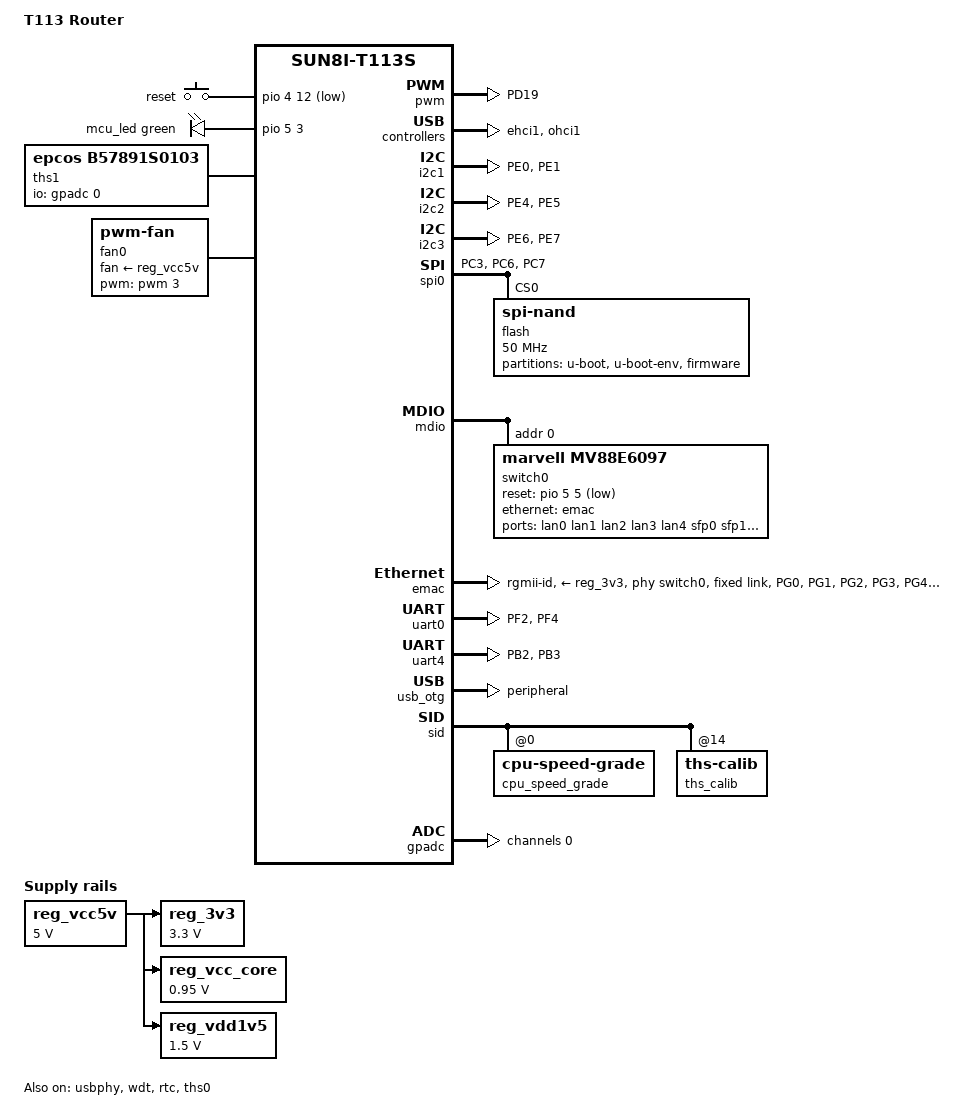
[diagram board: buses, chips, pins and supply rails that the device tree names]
// Copyright (C) 2022 Arm Ltd.

/dts-v1/;

#include "sun8i-t113s.dtsi"

#include <dt-bindings/gpio/gpio.h>
#include <dt-bindings/input/input.h>
#include <dt-bindings/leds/common.h>
#include <dt-bindings/pwm/pwm.h>
#include <dt-bindings/thermal/thermal.h>

/ {
    model = "T113 Router";

    aliases {
        serial0 = &uart0;
        serial1 = &uart4;
        spi0 = &spi0;
        ethernet0 = &emac;
    };

    chosen {
      stdout-path = "serial0:115200n8";
    };

    cpu_opp_table: cpu-opp-table {
      compatible = "allwinner,sun20i-d1-operating-points",
                   "allwinner,sun50i-h6-operating-points";
      nvmem-cells = <&cpu_speed_grade>;

      opp-1080000000 {
        opp-hz = /bits/ 64 <1008000000>;
        opp-microvolt = <900000 950000 1100000>;
      };
	  };

    gpio-buttons {
      compatible = "gpio-keys";

      button-reset {
        label = "reset";
        linux,code = <KEY_RESTART>;
			  gpios = <&pio 4 12 GPIO_ACTIVE_LOW>; //PE12
			  debounce-interval = <60>;
      };
	  };

    leds {
        compatible = "gpio-leds";

        mcu_led: led-0 {
            color = <LED_COLOR_ID_GREEN>;
            function = LED_FUNCTION_BOOT;
            gpios = <&pio 5 3 GPIO_ACTIVE_HIGH>; /* PF3 */
            linux,default-trigger = "pattern";
            default-state = "on";
        };
    };

    options {
      u-boot {
        compatible = "u-boot,config";
        boot-led = <&mcu_led>;
        boot-led-period-ms = <250>; // Blinks every 250ms
/*        activity-led = <&mcu_led>;*/
      };
	  };

  soc {
		pwm: pwm@2000c00 {
			compatible = "allwinner,sun20i-d1-pwm";
			reg = <0x2000c00 0x400>;
			clocks = <&ccu CLK_BUS_PWM>, <&dcxo>, <&ccu CLK_APB0>;
			clock-names = "bus", "hosc", "apb";
			resets = <&ccu RST_BUS_PWM>;
			interrupts = <SOC_PERIPHERAL_IRQ(18) IRQ_TYPE_LEVEL_HIGH>;
			#pwm-cells = <3>;
			status = "disabled";
		};

		ths0: cpu-temperature-sensor@2009400 {
			compatible = "allwinner,sun20i-d1-ths";
			reg = <0x2009400 0x400>;
			clocks = <&ccu CLK_BUS_THS>, <&dcxo>;
			clock-names = "bus", "hosc";
			resets = <&ccu RST_BUS_THS>;
			interrupts = <SOC_PERIPHERAL_IRQ(58) IRQ_TYPE_LEVEL_HIGH>;
			nvmem-cells = <&ths_calib>;
			nvmem-cell-names = "calibration";
			#thermal-sensor-cells = <0>;
		};
	};

  ths1: thermistor {
    compatible = "epcos,b57891s0103"; //b57891s0103 ~= NCP21XV103J03RA
    pullup-uv = <3300000>;
    pullup-ohm = <10000>;
    pulldown-ohm = <0>;
    io-channels = <&gpadc 0>;
    #thermal-sensor-cells = <0>;
  };

  fan0: pwm-fan {
    compatible = "pwm-fan";
    cooling-levels = <0 102 170 230 255>;
    pwms = <&pwm 3 20000 0>; //PWM3 50kHz
    #cooling-cells = <2>;
    fan-supply = <&reg_vcc5v>;
  };

  thermal-zones {
    cpu_thermal: cpu-thermal {
      polling-delay-passive = <250>; /* milliseconds */
      polling-delay = <1000>; /* milliseconds */
      thermal-sensors = <&ths0>;

      trips {
        cpu_target_0: cpu-target-0 {
            hysteresis = <3000>;
            temperature = <85000>;
            type = "passive";
        };

        cpu_crit_0: cpu-crit-0 {
            hysteresis = <0>;
            temperature = <110000>;
            type = "critical";
        };
      };

      cooling-maps {
        map0 {
          trip = <&cpu_target_0>;
          cooling-device = <&fan0 0 1>;
        };
      };
    };

    board_thermal: board-thermal {
      polling-delay-passive = <1000>; /* milliseconds */
      polling-delay = <2500>; /* milliseconds */
      thermal-sensors = <&ths1>;

      trips {
          board_alert_0: board-alert-0 {
              temperature = <100000>;
              hysteresis = <1000>;
              type = "passive";
          };
          board_crit_0: board-crit-0 {
              temperature = <130000>;
              hysteresis = <1000>;
              type = "critical";
          };
      };
    };
  };

  reg_vcc5v: regulator-5v {
    compatible = "regulator-fixed";
    regulator-name = "vcc-5v";
    regulator-min-microvolt = <5000000>;
    regulator-max-microvolt = <5000000>;
    regulator-always-on;
  };

  reg_3v3: regulator-3v3 {
    compatible = "regulator-fixed";
    regulator-name = "vcc-3v3";
    regulator-min-microvolt = <3300000>;
    regulator-max-microvolt = <3300000>;
    vin-supply = <&reg_vcc5v>;
  };

  reg_vcc_core: regulator-core {
    compatible = "regulator-fixed";
    regulator-name = "vcc-core";
    regulator-min-microvolt = <950000>;
    regulator-max-microvolt = <950000>;
    vin-supply = <&reg_vcc5v>;
  };

  reg_vdd1v5: regulator-avdd {
    compatible = "regulator-fixed";
    regulator-name = "vdd1v5";
    regulator-min-microvolt = <1500000>;
    regulator-max-microvolt = <1500000>;
    vin-supply = <&reg_vcc5v>;
  };
};

&cpu0 {
  cpu-supply = <&reg_vcc_core>;
  clock-frequency = <1008000000>;
  operating-points-v2 = <&cpu_opp_table>;
  #cooling-cells = <0x02>;
};

&cpu1 {
  cpu-supply = <&reg_vcc_core>;
  clock-frequency = <1008000000>;
  operating-points-v2 = <&cpu_opp_table>;
  #cooling-cells = <0x02>;
};

&dcxo {
  clock-frequency = <24000000>;
};

&ehci1 {
  status = "okay";
};

&ohci1 {
  status = "okay";
};

&i2c1 {
  pinctrl-names = "default";
  pinctrl-0 = <&i2c1_pe01_pin>;
  status = "okay";
  status = "okay";
};

&i2c2 {
  pinctrl-names = "default";
  pinctrl-0 = <&i2c2_pe45_pin>;
  status = "okay";
};

&i2c3 {
  pinctrl-names = "default";
  pinctrl-0 = <&i2c3_pe67_pin>;
  status = "okay";
};

&pio {
  vcc-pb-supply = <&reg_3v3>;
  vcc-pc-supply = <&reg_3v3>;
  vcc-pd-supply = <&reg_3v3>;
  vcc-pe-supply = <&reg_3v3>;
  vcc-pf-supply = <&reg_3v3>;
  vcc-pg-supply = <&reg_3v3>;

  spi0_cs_pin: spi0-cs-pin {
      pins = "PC3";
      function = "spi0";
  };

  spi0_pc67_pin: spi0-pc67-pin {
      pins = "PC6", "PC7";
      function = "spi0";
  };

  rgmii_pg_pins: rgmii-pg-pins {
    pins = "PG0", "PG1", "PG2", "PG3", "PG4",
           "PG5", "PG6", "PG7", "PG8", "PG9",
           "PG10", "PG11", "PG12", "PG13",
           "PG14", "PG15";
    function = "emac";
  };

  uart0_pf_pins: uart0-pf-pins {
    pins = "PF2", "PF4";
    function = "uart0";
  };

  uart4_pb_pins: uart4-pf-pins {
    pins = "PB2", "PB3";
    function = "uart4";
  };

  pwm3_pd19_pin: pwm3-pd19-pin {
    pins = "PD19";
    function = "pwm3";
    output-enable;
  };

  i2c1_pe01_pin: i2c1-pe01-pin {
    pins = "PE0", "PE1";
    function = "i2c1";
  };

  i2c2_pe45_pin: i2c2-pe45-pin {
    pins = "PE4", "PE5";
    function = "i2c2";
  };

  i2c3_pe67_pin: i2c3-pe67-pin {
    pins = "PE6", "PE7";
    function = "i2c3";
  };
};

&spi0  {
    pinctrl-0 = <&spi0_pins>, <&spi0_cs_pin>, <&spi0_pc67_pin>;
    pinctrl-names = "default";
    status = "okay";
    flash@0 {
        #address-cells = <1>;
        #size-cells = <1>;
        compatible = "spi-nand";
        reg = <0>; /* Chip select 0 */
        spi-max-frequency = <50000000>;
        spi-tx-bus-width = <1>;
        spi-rx-bus-width = <1>;
        status = "okay";
        partitions {
            compatible = "fixed-partitions";
            #address-cells = <1>;
            #size-cells = <1>;
            partition@u-boot {
                 label = "u-boot";
                 reg = <0x0 0x00080000>;
            };
            partition@u-boot-env {
                label = "u-boot-env";
                reg = <0x00080000 0x00020000>;
            };
            partition@firmware {
                label = "firmware";
                reg = <0x000A0000 0x0FF60000>;
            };
        };
    };
};

&mdio {
  interrupt-parent = <&pio>;
  interrupts = <5 6 IRQ_TYPE_LEVEL_LOW>; /* PF6 = INT_N */
  interrupt-controller;
  #interrupt-cells = <2>;

  switch0: ethernet-switch@0 {
    compatible = "marvell,mv88e6097";
    reg = <0>;
    reset-gpios = <&pio 5 5 GPIO_ACTIVE_LOW>; /* PF5 = RST_N */

    ports {
      #address-cells = <1>;
      #size-cells = <0>;

      port@0 {
          reg = <0>;
          label = "lan0";
      };

      port@1{
          reg = <1>;
          label = "lan1";
      };

      port@2 {
          reg = <2>;
          label = "lan2";
      };

      port@3 {
          reg = <3>;
          label = "lan3";
      };

      port@7 {
          reg = <7>;
          label = "lan4";
      };

      port@8 {
          reg = <8>;
          label = "sfp0";
      };

      port@9 {
          reg = <9>;
          label = "sfp1";
      };

      port@10 { 
          reg = <10>;
          label = "cpu";
          ethernet = <&emac>;
          phy-mode = "rgmii-id";
          fixed-link {
            speed = <1000>;
            full-duplex;
          };
      };
    };
  };
};

&emac {
  pinctrl-names = "default";
  pinctrl-0 = <&rgmii_pg_pins>;
  reset-gpios = <&pio 5 5 GPIO_ACTIVE_LOW>; /* PF5 = RST_N */
  phy-mode = "rgmii-id";
  phy-handle = <&switch0>;
  phy-supply = <&reg_3v3>;
  clocks = <&ccu CLK_BUS_EMAC>, <&ccu CLK_EMAC_25M>;
  clock-names = "stmmaceth", "phy";
  status = "ok";

  fixed-link {
    speed = <1000>;
    full-duplex;
  };
};

&uart0 {
  pinctrl-names = "default";
  pinctrl-0 = <&uart0_pf_pins>;
  status = "okay";
};

&uart4 {
  pinctrl-names = "default";
  pinctrl-0 = <&uart4_pb_pins>;
  status = "okay";
};

&usb_otg {
  dr_mode = "peripheral";
  status = "okay";
};

&usbphy {
  usb0_vbus-supply = <&reg_vcc5v>;
  usb1_vbus-supply = <&reg_vcc5v>;
  status = "okay";
};

&wdt {
  status = "okay";
};

&ths0 {
  status = "okay";
};

&rtc {
  status = "okay";
};

&sid {
	cpu_speed_grade: cpu-speed-grade@0 {
		reg = <0x0 0x2>;
	};

	ths_calib: ths-calib@14 {
		reg = <0x14 0x4>;
	};
};

&pwm {
//  allwinner,pwm-channels = <1>;
  pinctrl-names = "default";
	pinctrl-0 = <&pwm3_pd19_pin>;
  status = "okay";
};

&syscon {
  regulators@3000150 {
				compatible = "allwinner,sun20i-d1-system-ldos";
				reg = <0x3000150 0x4>;

				reg_ldoa: ldoa {
				};

				reg_ldob: ldob {
				};
			};
};

&reg_ldoa {
  regulator-name = "vcc-io";
	regulator-always-on;
	regulator-min-microvolt = <1800000>;
	regulator-max-microvolt = <1800000>;
	ldo-in-supply = <&reg_3v3>;

  regulator-state-mem {
    regulator-on-in-suspend;
  };
};

&reg_ldob {
	regulator-name = "vcc-dram";
	regulator-always-on;
  regulator-min-microvolt = <1350000>;
	regulator-max-microvolt = <1800000>;
	ldo-in-supply = <&reg_3v3>;

  regulator-state-mem {
    regulator-on-in-suspend;
  };
};

&gpadc {
  #address-cells = <1>;
  #size-cells = <0>;
  status = "okay";

  label = "board_temp";

  channel@0 {
    reg = <0>;
  };
};
